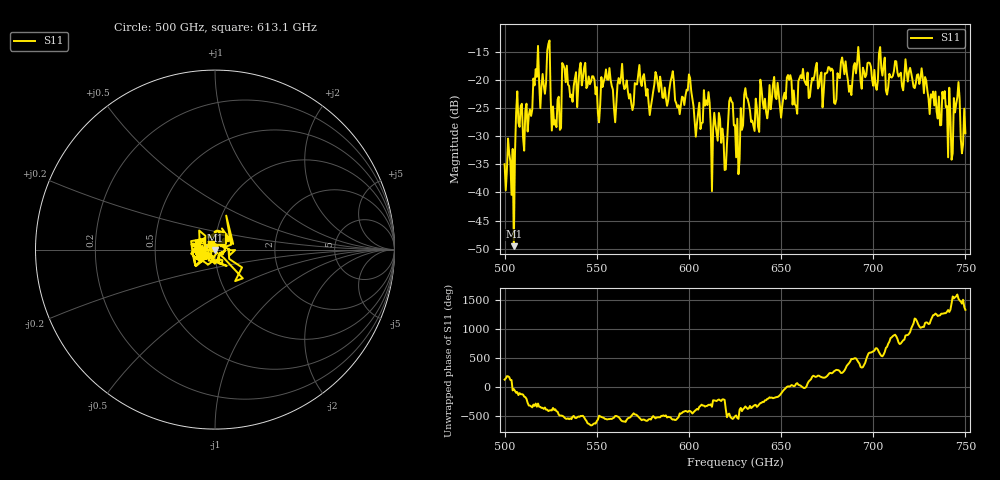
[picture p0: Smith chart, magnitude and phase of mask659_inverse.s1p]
!Created with skrf (http://scikit-rf.org).
# GHz S MA R 50.0
!freq magS11 angS11
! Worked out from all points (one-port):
!   401 points, 500 GHz to 750 GHz, reference 50 ohm
!   lowest |S11| = -49.6 dB at 505 GHz (marker M1), VSWR 1.01, Z = 50.3 - j0.208 ohm
!   |S11| at or under -10 dB: start of sweep to end of sweep
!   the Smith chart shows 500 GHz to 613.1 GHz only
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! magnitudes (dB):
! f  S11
! 500 GHz  -35.0
! 505 GHz  -49.6
! 507.5 GHz  -27.7
! 513.8 GHz  -25.3
! 516.9 GHz  -18.1
! 523.8 GHz  -13.6
! 526.9 GHz  -28.0
! 531.2 GHz  -17.0
! 542.5 GHz  -19.7
! 550.6 GHz  -26.0
! 555.6 GHz  -20.0
! 559.4 GHz  -25.2
! 562.5 GHz  -20.7
! 590.6 GHz  -19.5
! 593.8 GHz  -24.9
! 609.4 GHz  -23.7
! 618.8 GHz  -30.3
! 622.5 GHz  -23.2
! 625 GHz  -28.0
! 656.2 GHz  -24.4
! 680 GHz  -23.5
! 683.8 GHz  -17.4
! 687.5 GHz  -21.1
! 718.8 GHz  -20.3
! 738.8 GHz  -22.0
! 741.9 GHz  -26.6
! 745.6 GHz  -23.1
! 750 GHz  -29.5
